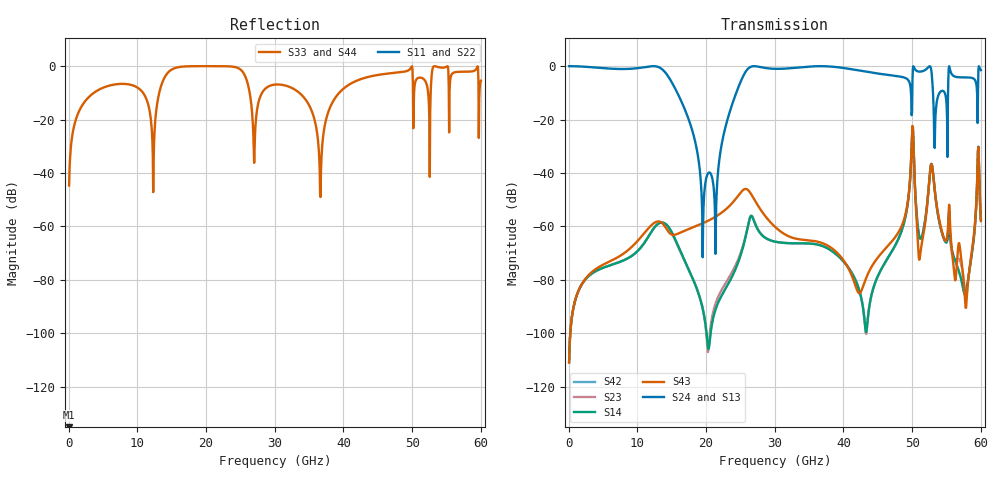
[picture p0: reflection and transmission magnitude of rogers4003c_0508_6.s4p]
! TOUCHSTONE file generated by CST MICROWAVE STUDIO
! Date and time: Wed Apr 16 11:32:52 2025
! Project name: LOSSLESS_rogers4003c_air_gapped_wideband_balanced.cst
! Parameters = {h=3.5; lambda=10; period=5; phi=0; theta=0; thickness=0.508; w_mesh_1=2; w_mesh_2=2; w_patch_1=1.6; w_patch_2=1.6}
! Header version: 2018
! Port assignment regex: !\s*Touchstone port\s*([0-9]+)\s*=\s*(CST MWS port|CST DS port)\s*([0-9]+|Zmin|Zmax)\s*\(\"(.*)\"\)(\s*mode\s*([0-9]+))?.*
! Touchstone port assignment:
! Touchstone port 1 = CST MWS port Zmin ("") mode 1
! Touchstone port 2 = CST MWS port Zmin ("") mode 2
! Touchstone port 3 = CST MWS port Zmax ("") mode 1
! Touchstone port 4 = CST MWS port Zmax ("") mode 2
! S-Parameters are not renormalized. Unphysical impedance of 50 will be written to the file.
# GHz S RI R 50
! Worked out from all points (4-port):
!   1003 points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, 60 MHz to 60 GHz, reference per port
!   strongest paths, dB at 60 MHz, 15 GHz, 30 GHz, 45 GHz, 60 GHz:
!     S24: 0.0, -6.0, -1.0, -2.7, -1.5
!     S13: 0.0, -6.0, -1.0, -2.7, -1.5
!     S43: -111.0, -63.1, -60.1, -71.7, -58.0
!     S14: -110.7, -62.2, -65.7, -78.6, -57.4
!     S23: -110.9, -62.5, -65.7, -78.6, -57.3
!     S42: -, -, -, -, -
!   lowest |S11| = - dB at 60 MHz (marker M1), VSWR 1.00
!   |S11| at or under -10 dB: start of sweep to end of sweep
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0.06  0 0  0 0  1 -0.00583  2e-07 2.91e-06
      0 0  0 0  2.16e-07 2.85e-06  1 -0.00583
      0 0  0 0  -2.47e-05 -0.00584  -1.08e-07 2.8e-06
      0 0  0 0  -1.11e-07 2.81e-06  -2.42e-05 -0.00583
13.86  0 0  0 0  -0.3647 -0.7277  0.000658 -0.000952
       0 0  0 0  0.000664 -0.000948  -0.3645 -0.7281
       0 0  0 0  0.5182 -0.2625  -0.00103 -0.000259
       0 0  0 0  -0.00103 -0.000259  0.518 -0.2623
19.56  0 0  0 0  0.00095 1.11e-06  -2.67e-05 -1.88e-06
       0 0  0 0  -2.69e-05 -2.21e-06  0.000999 1.11e-06
       0 0  0 0  -0.00449 -1  -0.00115 9.7e-07
       0 0  0 0  -0.00115 1.05e-06  -0.00513 -1
26.46  0 0  0 0  0.1248 0.9588  0.00149 0.000352
       0 0  0 0  0.0015 0.000323  0.1278 0.959
       0 0  0 0  -0.2547 0.016  0.00166 0.00385
       0 0  0 0  0.00168 0.00385  -0.2522 0.0178
41.76  0 0  0 0  0.6595 -0.5397  -8.84e-05 -4.17e-05
       0 0  0 0  -8.96e-05 -4.2e-05  0.6593 -0.5398
       0 0  0 0  0.3316 0.405  4.72e-05 6.05e-05
       0 0  0 0  4.87e-05 5.9e-05  0.3318 0.405
49.98  0 0  0 0  0.0216 0.0956  -0.0162 -0.0459
       0 0  0 0  -0.0162 -0.0457  0.0345 0.1325
       0 0  0 0  0.9729 -0.1984  0.0167 0.0476
       0 0  0 0  0.0167 0.0475  0.9596 -0.2362
60  0 0  0 0  0.759 -0.3736  0.00117 0.000663
    0 0  0 0  0.00119 0.000655  0.7578 -0.375
    0 0  0 0  0.2448 0.4737  -0.000846 -0.000937
    0 0  0 0  -0.000838 -0.000937  0.2454 0.4743
